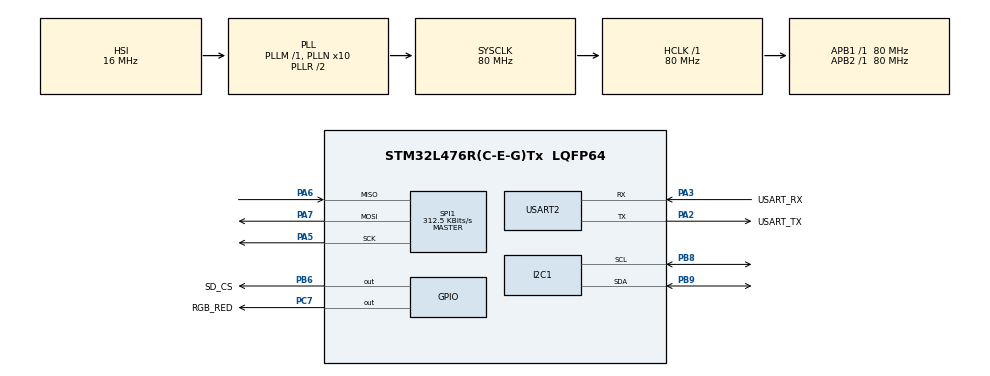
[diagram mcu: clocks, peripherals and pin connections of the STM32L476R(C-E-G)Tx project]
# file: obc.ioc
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FATFS._FS_LOCK=10
FATFS._MULTI_PARTITION=0
FATFS._VOLUMES=1
FREERTOS.Mutexes01=mtx_spi,Static,mtx_spiControlBlock,Available
FREERTOS.Queues01=q_telemetry,16,LogRecord_t,0,Dynamic,NULL,NULL
FREERTOS.Tasks01=Task_Supervisor,40,128,StartTask_Supervisor,Default,NULL,Dynamic,NULL,NULL;Task_PayloadCol,24,512,StartTask_PayloadCol,Default,NULL,Dynamic,NULL,NULL;Task_SD_Logger,16,1024,StartTask_SD_Logger,Default,NULL,Dynamic,NULL,NULL;Task_PowerMgmt,32,256,StartTask_PowerMgmt,Default,NULL,Dynamic,NULL,NULL;Task_GroundComm,24,512,StartTask_GroundComm,Default,NULL,Dynamic,NULL,NULL
FREERTOS.configTOTAL_HEAP_SIZE=20480
I2C1.I2C_Rise_Time=1000
I2C1.Speed=50
I2C1.Timing=0x90911F75
IWDG.Prescaler=IWDG_PRESCALER_256
Mcu.Family=STM32L4
Mcu.Name=STM32L476R(C-E-G)Tx
Mcu.Package=LQFP64
NVIC.PriorityGroup=NVIC_PRIORITYGROUP_4
NVIC.TIM6_DAC_IRQn=true\:15\:0\:false\:false\:true\:false\:false\:true\:true
NVIC.TimeBase=TIM6_DAC_IRQn
NVIC.TimeBaseIP=TIM6
NVIC.USART2_IRQn=true\:5\:0\:false\:false\:true\:true\:true\:true\:true
PA13\ (JTMS-SWDIO).GPIO_Label=TMS
PA13\ (JTMS-SWDIO).Mode=Serial_Wire
PA13\ (JTMS-SWDIO).Signal=SYS_JTMS-SWDIO
PA14\ (JTCK-SWCLK).GPIO_Label=TCK
PA14\ (JTCK-SWCLK).Mode=Serial_Wire
PA14\ (JTCK-SWCLK).Signal=SYS_JTCK-SWCLK
PA2.GPIO_Label=USART_TX
PA2.GPIO_Mode=GPIO_MODE_AF_PP
PA2.GPIO_PuPd=GPIO_NOPULL
PA2.GPIO_Speed=GPIO_SPEED_FREQ_VERY_HIGH
PA2.Mode=Asynchronous
PA2.Signal=USART2_TX
PA3.GPIO_Label=USART_RX
PA3.GPIO_Mode=GPIO_MODE_AF_PP
PA3.GPIO_PuPd=GPIO_NOPULL
PA3.GPIO_Speed=GPIO_SPEED_FREQ_VERY_HIGH
PA3.Mode=Asynchronous
PA3.Signal=USART2_RX
PA5.Mode=Full_Duplex_Master
PA5.Signal=SPI1_SCK
PA6.GPIO_PuPd=GPIO_PULLUP
PA6.Mode=Full_Duplex_Master
PA6.Signal=SPI1_MISO
PA7.Mode=Full_Duplex_Master
PA7.Signal=SPI1_MOSI
PB3\ (JTDO-TRACESWO).GPIO_Label=SWO
PB3\ (JTDO-TRACESWO).Signal=SYS_JTDO-SWO
PB6.GPIO_Label=SD_CS
PB6.GPIO_PuPd=GPIO_PULLUP
PB6.PinState=GPIO_PIN_SET
PB6.Signal=GPIO_Output
PB8.GPIO_Pu=GPIO_PULLUP
PB8.Mode=I2C
PB8.Signal=I2C1_SCL
PB9.GPIO_Pu=GPIO_PULLUP
PB9.Mode=I2C
PB9.Signal=I2C1_SDA
PC14-OSC32_IN\ (PC14).Signal=RCC_OSC32_IN
PC15-OSC32_OUT\ (PC15).Signal=RCC_OSC32_OUT
PC7.GPIO_Label=RGB_RED
PC7.Signal=GPIO_Output
PH0-OSC_IN\ (PH0).Signal=RCC_OSC_IN
PH1-OSC_OUT\ (PH1).Signal=RCC_OSC_OUT
ProjectManager.HeapSize=0x200
ProjectManager.StackSize=0x400
ProjectManager.TargetToolchain=STM32CubeIDE
RCC.ADCFreq_Value=64000000
RCC.AHBFreq_Value=80000000
RCC.APB1Freq_Value=80000000
RCC.APB1TimFreq_Value=80000000
RCC.APB2Freq_Value=80000000
RCC.APB2TimFreq_Value=80000000
RCC.CortexFreq_Value=80000000
RCC.HCLKFreq_Value=80000000
RCC.HSE_VALUE=8000000
RCC.HSI_VALUE=16000000
RCC.LSE_VALUE=32768
RCC.MSI_VALUE=4000000
RCC.PLLN=10
RCC.PLLSourceVirtual=RCC_PLLSOURCE_HSI
RCC.PREFETCH_ENABLE=1
RCC.SYSCLKFreq_VALUE=80000000
RCC.SYSCLKSource=RCC_SYSCLKSOURCE_PLLCLK
RCC.USBFreq_Value=64000000
RCC.VCOOutputFreq_Value=160000000
SPI1.BaudRatePrescaler=SPI_BAUDRATEPRESCALER_256
SPI1.CalculateBaudRate=312.5 KBits/s
SPI1.DataSize=SPI_DATASIZE_8BIT
SPI1.Direction=SPI_DIRECTION_2LINES
SPI1.Mode=SPI_MODE_MASTER
SPI1.VirtualType=VM_MASTER
USART2.VirtualMode-Asynchronous=VM_ASYNC
VP_FATFS_VS_Generic.Mode=User_defined
VP_FREERTOS_VS_CMSIS_V2.Mode=CMSIS_V2
VP_IWDG_VS_IWDG.Mode=IWDG_Activate
VP_RTC_VS_RTC_Activate.Mode=RTC_Enabled
VP_RTC_VS_RTC_Calendar.Mode=RTC_Calendar
VP_SYS_VS_tim6.Mode=TIM6
board=NUCLEO-L476RG

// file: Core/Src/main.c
/* USER CODE BEGIN Header */
/**
  ******************************************************************************
  * @file           : main.c
  * @brief          : Main program body
  ******************************************************************************
  * @attention
  *
  * Copyright (c) 2026 STMicroelectronics.
  * All rights reserved.
  *
  * This software is licensed under terms that can be found in the LICENSE file
  * in the root directory of this software component.
  * If no LICENSE file comes with this software, it is provided AS-IS.
  *
  ******************************************************************************
  */
/* USER CODE END Header */
#include "main.h"
#include "cmsis_os.h"
#include "fatfs.h"
#include "i2c.h"
#include "iwdg.h"
#include "rtc.h"
#include "spi.h"
#include "usart.h"
#include "gpio.h"

/* USER CODE BEGIN Includes */

#include "ObcController.hpp"

/* USER CODE END Includes */

void SystemClock_Config(void);
void MX_FREERTOS_Init(void);

int main(void)
{

  /* USER CODE BEGIN 1 */

	// Capture the hardware reset flags before initialization can change them.
	const uint32_t reset_flags_snapshot = RCC->CSR & RTC_RESET_FLAGS_MASK;

  /* USER CODE END 1 */

  /* MCU Configuration--------------------------------------------------------*/

  /* Reset of all peripherals, Initializes the Flash interface and the Systick. */
  HAL_Init();

  /* Configure the system clock */
  SystemClock_Config();

  /* Initialize all configured peripherals */
  MX_GPIO_Init();
  MX_I2C1_Init();
  MX_USART2_UART_Init();
  MX_FATFS_Init();
  MX_RTC_Init();
  MX_SPI1_Init();
  MX_IWDG_Init();
  /* USER CODE BEGIN 2 */

  // Save the latest reset cause in DR3 and increment the persistent DR1 boot counter.
  rtc_record_boot(reset_flags_snapshot);

  // Clear only the hardware flags. DR3 keeps the saved cause for this boot.
  __HAL_RCC_CLEAR_RESET_FLAGS();
  //obc use i2c
  obc_controller_init(&hi2c1);

  /* USER CODE END 2 */

  /* Init scheduler */
  osKernelInitialize();  /* Call init function for freertos objects (in cmsis_os2.c) */
  MX_FREERTOS_Init();

  /* Start scheduler */
  osKernelStart();

  /* We should never get here as control is now taken by the scheduler */

  /* Infinite loop */
  /* USER CODE BEGIN WHILE */
  while (1)
  {
    obc_controller_process();
    /* USER CODE END WHILE */

  }
}

void SystemClock_Config(void)
{
  RCC_OscInitTypeDef RCC_OscInitStruct = {0};
  RCC_ClkInitTypeDef RCC_ClkInitStruct = {0};

  /** Configure the main internal regulator output voltage
  */
  if (HAL_PWREx_ControlVoltageScaling(PWR_REGULATOR_VOLTAGE_SCALE1) != HAL_OK)
  {
    Error_Handler();
  }

  /** Initializes the RCC Oscillators according to the specified parameters
  * in the RCC_OscInitTypeDef structure.
  */
  RCC_OscInitStruct.OscillatorType = RCC_OSCILLATORTYPE_HSI|RCC_OSCILLATORTYPE_LSI;
  RCC_OscInitStruct.HSIState = RCC_HSI_ON;
  RCC_OscInitStruct.HSICalibrationValue = RCC_HSICALIBRATION_DEFAULT;
  RCC_OscInitStruct.LSIState = RCC_LSI_ON;
  RCC_OscInitStruct.PLL.PLLState = RCC_PLL_ON;
  RCC_OscInitStruct.PLL.PLLSource = RCC_PLLSOURCE_HSI;
  RCC_OscInitStruct.PLL.PLLM = 1;
  RCC_OscInitStruct.PLL.PLLN = 10;
  RCC_OscInitStruct.PLL.PLLP = RCC_PLLP_DIV7;
  RCC_OscInitStruct.PLL.PLLQ = RCC_PLLQ_DIV2;
  RCC_OscInitStruct.PLL.PLLR = RCC_PLLR_DIV2;
  if (HAL_RCC_OscConfig(&RCC_OscInitStruct) != HAL_OK)
  {
    Error_Handler();
  }

  /** Initializes the CPU, AHB and APB buses clocks
  */
  RCC_ClkInitStruct.ClockType = RCC_CLOCKTYPE_HCLK|RCC_CLOCKTYPE_SYSCLK
                              |RCC_CLOCKTYPE_PCLK1|RCC_CLOCKTYPE_PCLK2;
  RCC_ClkInitStruct.SYSCLKSource = RCC_SYSCLKSOURCE_PLLCLK;
  RCC_ClkInitStruct.AHBCLKDivider = RCC_SYSCLK_DIV1;
  RCC_ClkInitStruct.APB1CLKDivider = RCC_HCLK_DIV1;
  RCC_ClkInitStruct.APB2CLKDivider = RCC_HCLK_DIV1;

  if (HAL_RCC_ClockConfig(&RCC_ClkInitStruct, FLASH_LATENCY_4) != HAL_OK)
  {
    Error_Handler();
  }
}

void HAL_TIM_PeriodElapsedCallback(TIM_HandleTypeDef *htim)
{
  if (htim->Instance == TIM6)
  {
    HAL_IncTick();
  }
}

void Error_Handler(void)
{
  __disable_irq();
  while (1)
  {
  }
}

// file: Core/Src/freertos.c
/* USER CODE BEGIN Header */
/**
  ******************************************************************************
  * File Name          : freertos.c
  * Description        : Code for freertos applications
  ******************************************************************************
  * @attention
  *
  * Copyright (c) 2026 STMicroelectronics.
  * All rights reserved.
  *
  * This software is licensed under terms that can be found in the LICENSE file
  * in the root directory of this software component.
  * If no LICENSE file comes with this software, it is provided AS-IS.
  *
  ******************************************************************************
  */
/* USER CODE END Header */

#include "FreeRTOS.h"
#include "task.h"
#include "main.h"
#include "cmsis_os.h"

/* USER CODE BEGIN Includes */
#include "ObcController.hpp"
#include "PayloadCollector.hpp"
#include "iwdg.h"
#include "../../../common/log_record.h"
#include "SdLogger.hpp"
#include "../Power/power_state.hpp"
#include "../Power/task_watch.hpp"
/* USER CODE END Includes */

typedef StaticSemaphore_t osStaticMutexDef_t;

/* USER CODE BEGIN PD */

#define TASK_SUPERVISOR_CHECK_TICKS 2000u

/* Set to 1 only for the on-board IWDG reset demonstration, then restore to 0. */
#define WATCHDOG_TEST_FREEZE_GROUND_COMM 0u

/* USER CODE END PD */

/* USER CODE BEGIN Variables */
osMutexId_t i2c_mtxHandle;
/* USER CODE END Variables */
/* Definitions for Task_Supervisor */
osThreadId_t Task_SupervisorHandle;
const osThreadAttr_t Task_Supervisor_attributes = {
  .name = "Task_Supervisor",
  .stack_size = 128 * 4,
  .priority = (osPriority_t) osPriorityHigh,
};
/* Definitions for Task_PayloadCol */
osThreadId_t Task_PayloadColHandle;
const osThreadAttr_t Task_PayloadCol_attributes = {
  .name = "Task_PayloadCol",
  .stack_size = 512 * 4,
  .priority = (osPriority_t) osPriorityNormal,
};
/* Definitions for Task_SD_Logger */
osThreadId_t Task_SD_LoggerHandle;
const osThreadAttr_t Task_SD_Logger_attributes = {
  .name = "Task_SD_Logger",
  .stack_size = 1024 * 4,
  .priority = (osPriority_t) osPriorityBelowNormal,
};
/* Definitions for Task_PowerMgmt */
osThreadId_t Task_PowerMgmtHandle;
const osThreadAttr_t Task_PowerMgmt_attributes = {
  .name = "Task_PowerMgmt",
  .stack_size = 256 * 4,
  .priority = (osPriority_t) osPriorityAboveNormal,
};
/* Definitions for Task_GroundComm */
osThreadId_t Task_GroundCommHandle;
const osThreadAttr_t Task_GroundComm_attributes = {
  .name = "Task_GroundComm",
  .stack_size = 512 * 4,
  .priority = (osPriority_t) osPriorityNormal,
};
/* Definitions for q_telemetry */
osMessageQueueId_t q_telemetryHandle;
const osMessageQueueAttr_t q_telemetry_attributes = {
  .name = "q_telemetry"
};
/* Definitions for mtx_spi */
osMutexId_t mtx_spiHandle;
osStaticMutexDef_t mtx_spiControlBlock;
const osMutexAttr_t mtx_spi_attributes = {
  .name = "mtx_spi",
  .cb_mem = &mtx_spiControlBlock,
  .cb_size = sizeof(mtx_spiControlBlock),
};

void StartTask_Supervisor(void *argument);
void StartTask_PayloadCol(void *argument);
void StartTask_SD_Logger(void *argument);
void StartTask_PowerMgmt(void *argument);
void StartTask_GroundComm(void *argument);

void MX_FREERTOS_Init(void); /* (MISRA C 2004 rule 8.1) */

void MX_FREERTOS_Init(void) {
  /* USER CODE BEGIN Init */

	payload_collector_init();
	power_state_init();
	task_watch_init();

	const osMutexAttr_t i2c_mtx_attributes = {
	  .name = "i2c_mtx",
	  .attr_bits = osMutexPrioInherit,
	};

  /* USER CODE END Init */
  /* Create the mutex(es) */
  /* creation of mtx_spi */
  mtx_spiHandle = osMutexNew(&mtx_spi_attributes);

  /* USER CODE BEGIN RTOS_MUTEX */
  /* add mutexes, ... */

  i2c_mtxHandle = osMutexNew(&i2c_mtx_attributes);

  /* USER CODE END RTOS_MUTEX */

  /* Create the queue(s) */
  /* creation of q_telemetry */
  q_telemetryHandle = osMessageQueueNew (16, sizeof(LogRecord_t), &q_telemetry_attributes);

  /* Create the thread(s) */
  /* creation of Task_Supervisor */
  Task_SupervisorHandle = osThreadNew(StartTask_Supervisor, NULL, &Task_Supervisor_attributes);

  /* creation of Task_PayloadCol */
  Task_PayloadColHandle = osThreadNew(StartTask_PayloadCol, NULL, &Task_PayloadCol_attributes);

  /* creation of Task_SD_Logger */
  Task_SD_LoggerHandle = osThreadNew(StartTask_SD_Logger, NULL, &Task_SD_Logger_attributes);

  /* creation of Task_PowerMgmt */
  Task_PowerMgmtHandle = osThreadNew(StartTask_PowerMgmt, NULL, &Task_PowerMgmt_attributes);

  /* creation of Task_GroundComm */
  Task_GroundCommHandle = osThreadNew(StartTask_GroundComm, NULL, &Task_GroundComm_attributes);

}

void StartTask_Supervisor(void *argument)
{
  /* USER CODE BEGIN StartTask_Supervisor */
  (void)argument;

  // IWDG is configured for roughly 32 seconds. Every two seconds, consume a
  // complete heartbeat window and refresh only when all four worker tasks have
  // made progress. Missing bits are deliberately not cleared, giving a delayed
  // healthy task the rest of the hardware watchdog interval to report.
  for(;;)
  {
    osDelay(TASK_SUPERVISOR_CHECK_TICKS);

    if (task_watch_all_alive_and_clear()) {
      (void)HAL_IWDG_Refresh(&hiwdg);
    }
  }
  /* USER CODE END StartTask_Supervisor */
}

void StartTask_PayloadCol(void *argument)
{
  /* USER CODE BEGIN StartTask_PayloadCol */
  /* Infinite loop */
	payload_collector_run();
  /* USER CODE END StartTask_PayloadCol */
}

void StartTask_SD_Logger(void *argument)
{
  /* USER CODE BEGIN StartTask_SD_Logger */
	sd_logger_task(argument);
  /* USER CODE END StartTask_SD_Logger */
}

void StartTask_PowerMgmt(void *argument)
{
  /* USER CODE BEGIN StartTask_PowerMgmt */
	// Samples the EPS battery once per second and publishes the power state
  for(;;)
  {
	  Snapshot snap;
	  if (payload_collector_get_snapshot(EPS_NODE_ID, &snap)) {
		  power_state_update(snap.data.battery_pct, snap.battery_valid);
	  } else {
		  power_state_update(0u, false);
	  }

	  task_watch_checkin(TASK_WATCH_POWER_MGMT);
	  osDelay(1000);
  }
  /* USER CODE END StartTask_PowerMgmt */
}

void StartTask_GroundComm(void *argument)
{
  /* USER CODE BEGIN StartTask_GroundComm */
  (void)argument;

#if WATCHDOG_TEST_FREEZE_GROUND_COMM
  // Deliberately stop one worker so the supervisor withholds IWDG refreshes.
  (void)osThreadSuspend(osThreadGetId());
#endif

  // Drains the USART2 RX ring buffer, answers ground-station requests, and checks
  // the automatic-status schedule. Before the RTOS this ran from main(), which
  // osKernelStart() made unreachable -- without this call the OBC transmits its boot
  // banner and then never answers a command.
  // Infinite loop
  for(;;)
  {
    obc_controller_process();
    task_watch_checkin(TASK_WATCH_GROUND_COMM);
    osDelay(1);
  }
  /* USER CODE END StartTask_GroundComm */
}
